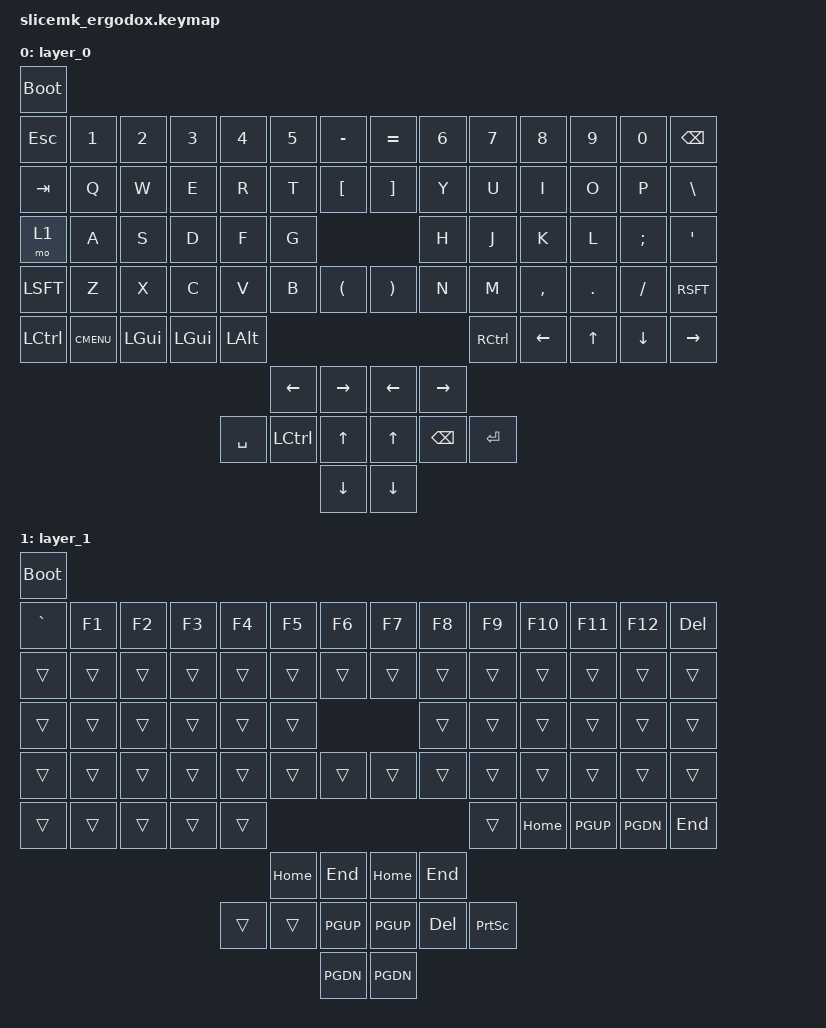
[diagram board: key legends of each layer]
#include <behaviors.dtsi>
#include <dt-bindings/zmk/bt.h>
#include <dt-bindings/zmk/keys.h>
#include <dt-bindings/zmk/outputs.h>

/ {
        keymap {
                compatible = "zmk,keymap";

                layer_0 {
                        bindings = <
    &bootloader
    &kp ESC    &kp N1     &kp N2     &kp N3     &kp N4     &kp N5     &kp MINUS  &kp EQUAL  &kp N6     &kp N7     &kp N8     &kp N9     &kp N0     &kp BSPC
    &kp TAB    &kp Q      &kp W      &kp E      &kp R      &kp T      &kp LBKT   &kp RBKT   &kp Y      &kp U      &kp I      &kp O      &kp P      &kp BSLH
    &mo 1      &kp A      &kp S      &kp D      &kp F      &kp G                            &kp H      &kp J      &kp K      &kp L      &kp SEMI   &kp APOS
    &kp LSFT   &kp Z      &kp X      &kp C      &kp V      &kp B      &kp LPAR   &kp RPAR   &kp N      &kp M      &kp COMMA  &kp DOT    &kp SLASH  &kp RSFT
    &kp LCTL   &kp K_CMENU &kp LGUI  &kp LGUI   &kp LALT                                               &kp RCTL   &kp LEFT   &kp UP     &kp DOWN   &kp RIGHT
                                                           &kp LEFT   &kp RIGHT  &kp LEFT   &kp RIGHT
                                                &kp SPC    &kp LCTL    &kp UP     &kp UP    &kp BKSP   &kp RET        
                                                                      &kp DOWN   &kp DOWN
                        >;
                };

                layer_1 {
                        bindings = <
    &bootloader
    &kp GRAVE  &kp F1     &kp F2     &kp F3     &kp F4     &kp F5     &kp F6     &kp F7     &kp F8     &kp F9     &kp F10    &kp F11    &kp F12    &kp DEL
    &trans     &trans     &trans     &trans     &trans     &trans     &trans     &trans     &trans     &trans     &trans     &trans     &trans     &trans
    &trans     &trans     &trans     &trans     &trans     &trans                           &trans     &trans     &trans     &trans     &trans     &trans
    &trans     &trans     &trans     &trans     &trans     &trans     &trans     &trans     &trans     &trans     &trans     &trans     &trans     &trans
    &trans     &trans     &trans     &trans     &trans                                                 &trans     &kp HOME   &kp PGUP   &kp PGDN   &kp END
                                                           &kp HOME   &kp END    &kp HOME   &kp END
                                                &trans     &trans     &kp PGUP   &kp PGUP   &kp DEL    &kp PSCRN
                                                                      &kp PGDN   &kp PGDN
                        >;
                };

        };
};
